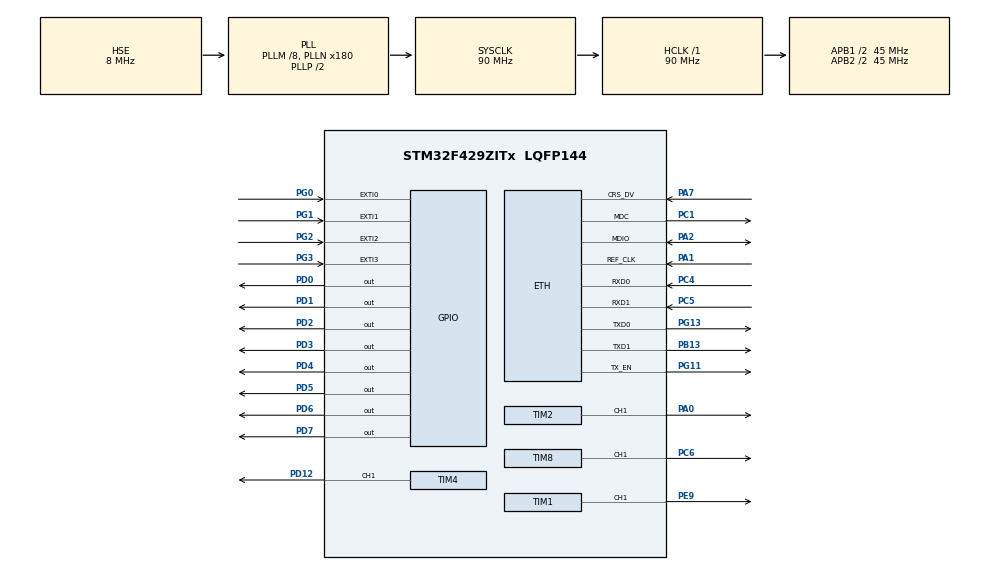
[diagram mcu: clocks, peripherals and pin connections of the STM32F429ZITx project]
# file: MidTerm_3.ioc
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ETH.MediaInterface=HAL_ETH_RMII_MODE
LWIP.BSP.number=1
LWIP.GATEWAY_ADDRESS=172.030.001.255
LWIP.IP_ADDRESS=172.030.001.030
LWIP.LWIP_DHCP=0
LWIP.NETMASK_ADDRESS=255.255.255.000
LWIP.Version=v2.1.2_Cube
LWIP0.BSP.STBoard=false
LWIP0.BSP.api=BSP_COMPONENT_DRIVER
LWIP0.BSP.component=LAN8742
LWIP0.BSP.instance=LAN8742
LWIP0.BSP.name=Driver_PHY
LWIP0.BSP.semaphore=S_LAN8742
LWIP0.BSP.solution=LAN8742
Mcu.Family=STM32F4
Mcu.Name=STM32F429ZITx
Mcu.Package=LQFP144
NVIC.EXTI0_IRQn=true\:0\:0\:false\:false\:true\:true\:true\:true
NVIC.EXTI1_IRQn=true\:0\:0\:false\:false\:true\:true\:true\:true
NVIC.EXTI2_IRQn=true\:0\:0\:false\:false\:true\:true\:true\:true
NVIC.EXTI3_IRQn=true\:0\:0\:false\:false\:true\:true\:true\:true
NVIC.PriorityGroup=NVIC_PRIORITYGROUP_4
NVIC.TIM1_BRK_TIM9_IRQn=true\:0\:0\:false\:false\:true\:true\:true\:true
NVIC.TIM1_CC_IRQn=true\:0\:0\:false\:false\:true\:true\:true\:true
NVIC.TIM1_TRG_COM_TIM11_IRQn=true\:0\:0\:false\:false\:true\:true\:true\:true
NVIC.TIM1_UP_TIM10_IRQn=true\:0\:0\:false\:false\:true\:true\:true\:true
NVIC.TIM2_IRQn=true\:0\:0\:false\:false\:true\:true\:true\:true
NVIC.TIM3_IRQn=true\:0\:0\:false\:false\:true\:true\:true\:true
NVIC.TIM4_IRQn=true\:0\:0\:false\:false\:true\:true\:true\:true
NVIC.TIM8_BRK_TIM12_IRQn=true\:0\:0\:false\:false\:true\:true\:true\:true
NVIC.TIM8_CC_IRQn=true\:0\:0\:false\:false\:true\:true\:true\:true
NVIC.TIM8_TRG_COM_TIM14_IRQn=true\:0\:0\:false\:false\:true\:true\:true\:true
NVIC.TIM8_UP_TIM13_IRQn=true\:0\:0\:false\:false\:true\:true\:true\:true
PA0/WKUP.Signal=S_TIM2_CH1_ETR
PA1.Mode=RMII
PA1.Signal=ETH_REF_CLK
PA13.Mode=Serial_Wire
PA13.Signal=SYS_JTMS-SWDIO
PA14.Mode=Serial_Wire
PA14.Signal=SYS_JTCK-SWCLK
PA2.Mode=RMII
PA2.Signal=ETH_MDIO
PA7.Mode=RMII
PA7.Signal=ETH_CRS_DV
PB13.Mode=RMII
PB13.Signal=ETH_TXD1
PC1.Mode=RMII
PC1.Signal=ETH_MDC
PC4.Mode=RMII
PC4.Signal=ETH_RXD0
PC5.Mode=RMII
PC5.Signal=ETH_RXD1
PC6.Signal=S_TIM8_CH1
PD0.GPIO_ModeDefaultOutputPP=GPIO_MODE_OUTPUT_PP
PD0.GPIO_PuPd=GPIO_PULLUP
PD0.GPIO_Speed=GPIO_SPEED_FREQ_HIGH
PD0.PinState=GPIO_PIN_RESET
PD0.Signal=GPIO_Output
PD1.GPIO_ModeDefaultOutputPP=GPIO_MODE_OUTPUT_PP
PD1.GPIO_PuPd=GPIO_PULLUP
PD1.GPIO_Speed=GPIO_SPEED_FREQ_HIGH
PD1.PinState=GPIO_PIN_RESET
PD1.Signal=GPIO_Output
PD12.Signal=S_TIM4_CH1
PD2.GPIO_ModeDefaultOutputPP=GPIO_MODE_OUTPUT_PP
PD2.GPIO_PuPd=GPIO_PULLUP
PD2.GPIO_Speed=GPIO_SPEED_FREQ_HIGH
PD2.PinState=GPIO_PIN_RESET
PD2.Signal=GPIO_Output
PD3.GPIO_ModeDefaultOutputPP=GPIO_MODE_OUTPUT_PP
PD3.GPIO_PuPd=GPIO_PULLUP
PD3.GPIO_Speed=GPIO_SPEED_FREQ_HIGH
PD3.PinState=GPIO_PIN_RESET
PD3.Signal=GPIO_Output
PD4.GPIO_ModeDefaultOutputPP=GPIO_MODE_OUTPUT_PP
PD4.GPIO_PuPd=GPIO_PULLUP
PD4.GPIO_Speed=GPIO_SPEED_FREQ_HIGH
PD4.PinState=GPIO_PIN_RESET
PD4.Signal=GPIO_Output
PD5.GPIO_ModeDefaultOutputPP=GPIO_MODE_OUTPUT_PP
PD5.GPIO_PuPd=GPIO_PULLUP
PD5.GPIO_Speed=GPIO_SPEED_FREQ_HIGH
PD5.PinState=GPIO_PIN_RESET
PD5.Signal=GPIO_Output
PD6.GPIO_ModeDefaultOutputPP=GPIO_MODE_OUTPUT_PP
PD6.GPIO_PuPd=GPIO_PULLUP
PD6.GPIO_Speed=GPIO_SPEED_FREQ_HIGH
PD6.PinState=GPIO_PIN_RESET
PD6.Signal=GPIO_Output
PD7.GPIO_ModeDefaultOutputPP=GPIO_MODE_OUTPUT_PP
PD7.GPIO_PuPd=GPIO_PULLUP
PD7.GPIO_Speed=GPIO_SPEED_FREQ_HIGH
PD7.PinState=GPIO_PIN_RESET
PD7.Signal=GPIO_Output
PE9.Signal=S_TIM1_CH1
PG0.GPIO_ModeDefaultEXTI=GPIO_MODE_IT_FALLING
PG0.GPIO_PuPd=GPIO_NOPULL
PG0.Signal=GPXTI0
PG1.GPIO_ModeDefaultEXTI=GPIO_MODE_IT_FALLING
PG1.GPIO_PuPd=GPIO_NOPULL
PG1.Signal=GPXTI1
PG11.Mode=RMII
PG11.Signal=ETH_TX_EN
PG13.Mode=RMII
PG13.Signal=ETH_TXD0
PG2.GPIO_ModeDefaultEXTI=GPIO_MODE_IT_FALLING
PG2.GPIO_PuPd=GPIO_NOPULL
PG2.Signal=GPXTI2
PG3.GPIO_ModeDefaultEXTI=GPIO_MODE_IT_FALLING
PG3.GPIO_PuPd=GPIO_NOPULL
PG3.Signal=GPXTI3
PH0/OSC_IN.Mode=HSE-External-Clock-Source
PH0/OSC_IN.Signal=RCC_OSC_IN
PH1/OSC_OUT.Mode=HSE-External-Clock-Source
PH1/OSC_OUT.Signal=RCC_OSC_OUT
ProjectManager.HeapSize=0x200
ProjectManager.StackSize=0x400
ProjectManager.TargetToolchain=STM32CubeIDE
RCC.48MHZClocksFreq_Value=45000000
RCC.AHBFreq_Value=90000000
RCC.APB1CLKDivider=RCC_HCLK_DIV2
RCC.APB1Freq_Value=45000000
RCC.APB1TimFreq_Value=90000000
RCC.APB2CLKDivider=RCC_HCLK_DIV2
RCC.APB2Freq_Value=45000000
RCC.APB2TimFreq_Value=90000000
RCC.CortexFreq_Value=90000000
RCC.HCLKFreq_Value=90000000
RCC.HSE_VALUE=8000000
RCC.HSI_VALUE=16000000
RCC.LSE_VALUE=32768
RCC.PLLM=8
RCC.PLLN=180
RCC.PLLSourceVirtual=RCC_PLLSOURCE_HSE
RCC.SYSCLKFreq_VALUE=90000000
RCC.SYSCLKSource=RCC_SYSCLKSOURCE_PLLCLK
RCC.VCOOutputFreq_Value=180000000
SH.S_TIM1_CH1.0=TIM1_CH1,PWM Generation1 CH1
SH.S_TIM2_CH1_ETR.0=TIM2_CH1,PWM Generation1 CH1
SH.S_TIM4_CH1.0=TIM4_CH1,PWM Generation1 CH1
SH.S_TIM8_CH1.0=TIM8_CH1,PWM Generation1 CH1
TIM1.Channel-PWM\ Generation1\ CH1=TIM_CHANNEL_1
TIM1.Period=9999
TIM2.Channel-PWM\ Generation1\ CH1=TIM_CHANNEL_1
TIM2.Period=9999
TIM3.Period=9999
TIM4.Channel-PWM\ Generation1\ CH1=TIM_CHANNEL_1
TIM4.Period=9999
TIM8.Channel-PWM\ Generation1\ CH1=TIM_CHANNEL_1
TIM8.Period=9999
VP_LWIP_VS_Enabled.Mode=Enabled
VP_TIM1_VS_ClockSourceINT.Mode=Internal
VP_TIM2_VS_ClockSourceINT.Mode=Internal
VP_TIM3_VS_ClockSourceINT.Mode=Internal
VP_TIM4_VS_ClockSourceINT.Mode=Internal
VP_TIM8_VS_ClockSourceINT.Mode=Internal
board=custom

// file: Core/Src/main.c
/* USER CODE BEGIN Header */
/**
  ******************************************************************************
  * @file           : main.c
  * @brief          : Main program body
  ******************************************************************************
  * @attention
  *
  * Copyright (c) 2023 STMicroelectronics.
  * All rights reserved.
  *
  * This software is licensed under terms that can be found in the LICENSE file
  * in the root directory of this software component.
  * If no LICENSE file comes with this software, it is provided AS-IS.
  *
  ******************************************************************************
  */
/* USER CODE END Header */
#include "main.h"
#include "lwip.h"

/* USER CODE BEGIN Includes */

#include "tcp_echoclient.h"

/* USER CODE END Includes */

TIM_HandleTypeDef htim1;
TIM_HandleTypeDef htim2;
TIM_HandleTypeDef htim3;
TIM_HandleTypeDef htim4;
TIM_HandleTypeDef htim8;

/* USER CODE BEGIN PV */

struct netif gnetif;

/* USER CODE END PV */

void SystemClock_Config(void);
static void MX_GPIO_Init(void);
static void MX_TIM1_Init(void);
static void MX_TIM2_Init(void);
static void MX_TIM4_Init(void);
static void MX_TIM3_Init(void);
static void MX_TIM8_Init(void);
/* USER CODE BEGIN PFP */

void LED_OnOff(int, int);
void User_notification(struct netif *netif);

/* USER CODE END PFP */

int main(void)
{

  /* MCU Configuration--------------------------------------------------------*/

  /* Reset of all peripherals, Initializes the Flash interface and the Systick. */
  HAL_Init();

  /* Configure the system clock */
  SystemClock_Config();

  /* Initialize all configured peripherals */
  MX_GPIO_Init();
  MX_LWIP_Init();
  MX_TIM1_Init();
  MX_TIM2_Init();
  MX_TIM4_Init();
  MX_TIM3_Init();
  MX_TIM8_Init();
  /* USER CODE BEGIN 2 */

  LED_OnOff(LED_ALL, 500);
  HAL_TIM_Base_Start_IT(&htim1);
  HAL_TIM_Base_Start_IT(&htim2);
  HAL_TIM_Base_Start_IT(&htim4);
  HAL_TIM_Base_Start_IT(&htim8);
  HAL_TIM_PWM_Start_IT(&htim1, TIM_CHANNEL_1);
  HAL_TIM_PWM_Start_IT(&htim8, TIM_CHANNEL_1);
  HAL_TIM_PWM_Start_IT(&htim2, TIM_CHANNEL_1);
  HAL_TIM_PWM_Start_IT(&htim4, TIM_CHANNEL_1);
  HAL_GPIO_WritePin(GPIO_LED, LED1 | LED2, GPIO_PIN_SET);

  User_notification(&gnetif);
  tcp_echoclient_connect();

  /* USER CODE END 2 */

  /* Infinite loop */
  /* USER CODE BEGIN WHILE */
  while (1)
  {
	  MX_LWIP_Process();

    /* USER CODE END WHILE */

  }
}

void SystemClock_Config(void)
{
  RCC_OscInitTypeDef RCC_OscInitStruct = {0};
  RCC_ClkInitTypeDef RCC_ClkInitStruct = {0};

  /** Configure the main internal regulator output voltage
  */
  __HAL_RCC_PWR_CLK_ENABLE();
  __HAL_PWR_VOLTAGESCALING_CONFIG(PWR_REGULATOR_VOLTAGE_SCALE3);

  /** Initializes the RCC Oscillators according to the specified parameters
  * in the RCC_OscInitTypeDef structure.
  */
  RCC_OscInitStruct.OscillatorType = RCC_OSCILLATORTYPE_HSE;
  RCC_OscInitStruct.HSEState = RCC_HSE_BYPASS;
  RCC_OscInitStruct.PLL.PLLState = RCC_PLL_ON;
  RCC_OscInitStruct.PLL.PLLSource = RCC_PLLSOURCE_HSE;
  RCC_OscInitStruct.PLL.PLLM = 8;
  RCC_OscInitStruct.PLL.PLLN = 180;
  RCC_OscInitStruct.PLL.PLLP = RCC_PLLP_DIV2;
  RCC_OscInitStruct.PLL.PLLQ = 4;
  if (HAL_RCC_OscConfig(&RCC_OscInitStruct) != HAL_OK)
  {
    Error_Handler();
  }

  /** Activate the Over-Drive mode
  */
  if (HAL_PWREx_EnableOverDrive() != HAL_OK)
  {
    Error_Handler();
  }

  /** Initializes the CPU, AHB and APB buses clocks
  */
  RCC_ClkInitStruct.ClockType = RCC_CLOCKTYPE_HCLK|RCC_CLOCKTYPE_SYSCLK
                              |RCC_CLOCKTYPE_PCLK1|RCC_CLOCKTYPE_PCLK2;
  RCC_ClkInitStruct.SYSCLKSource = RCC_SYSCLKSOURCE_PLLCLK;
  RCC_ClkInitStruct.AHBCLKDivider = RCC_SYSCLK_DIV1;
  RCC_ClkInitStruct.APB1CLKDivider = RCC_HCLK_DIV2;
  RCC_ClkInitStruct.APB2CLKDivider = RCC_HCLK_DIV2;

  if (HAL_RCC_ClockConfig(&RCC_ClkInitStruct, FLASH_LATENCY_2) != HAL_OK)
  {
    Error_Handler();
  }
}

static void MX_TIM1_Init(void)
{

  TIM_ClockConfigTypeDef sClockSourceConfig = {0};
  TIM_MasterConfigTypeDef sMasterConfig = {0};
  TIM_OC_InitTypeDef sConfigOC = {0};
  TIM_BreakDeadTimeConfigTypeDef sBreakDeadTimeConfig = {0};

  htim1.Instance = TIM1;
  htim1.Init.Prescaler = 0;
  htim1.Init.CounterMode = TIM_COUNTERMODE_UP;
  htim1.Init.Period = 9999;
  htim1.Init.ClockDivision = TIM_CLOCKDIVISION_DIV1;
  htim1.Init.RepetitionCounter = 0;
  htim1.Init.AutoReloadPreload = TIM_AUTORELOAD_PRELOAD_DISABLE;
  if (HAL_TIM_Base_Init(&htim1) != HAL_OK)
  {
    Error_Handler();
  }
  sClockSourceConfig.ClockSource = TIM_CLOCKSOURCE_INTERNAL;
  if (HAL_TIM_ConfigClockSource(&htim1, &sClockSourceConfig) != HAL_OK)
  {
    Error_Handler();
  }
  if (HAL_TIM_PWM_Init(&htim1) != HAL_OK)
  {
    Error_Handler();
  }
  sMasterConfig.MasterOutputTrigger = TIM_TRGO_RESET;
  sMasterConfig.MasterSlaveMode = TIM_MASTERSLAVEMODE_DISABLE;
  if (HAL_TIMEx_MasterConfigSynchronization(&htim1, &sMasterConfig) != HAL_OK)
  {
    Error_Handler();
  }
  sConfigOC.OCMode = TIM_OCMODE_PWM1;
  sConfigOC.Pulse = 0;
  sConfigOC.OCPolarity = TIM_OCPOLARITY_HIGH;
  sConfigOC.OCNPolarity = TIM_OCNPOLARITY_HIGH;
  sConfigOC.OCFastMode = TIM_OCFAST_DISABLE;
  sConfigOC.OCIdleState = TIM_OCIDLESTATE_RESET;
  sConfigOC.OCNIdleState = TIM_OCNIDLESTATE_RESET;
  if (HAL_TIM_PWM_ConfigChannel(&htim1, &sConfigOC, TIM_CHANNEL_1) != HAL_OK)
  {
    Error_Handler();
  }
  sBreakDeadTimeConfig.OffStateRunMode = TIM_OSSR_DISABLE;
  sBreakDeadTimeConfig.OffStateIDLEMode = TIM_OSSI_DISABLE;
  sBreakDeadTimeConfig.LockLevel = TIM_LOCKLEVEL_OFF;
  sBreakDeadTimeConfig.DeadTime = 0;
  sBreakDeadTimeConfig.BreakState = TIM_BREAK_DISABLE;
  sBreakDeadTimeConfig.BreakPolarity = TIM_BREAKPOLARITY_HIGH;
  sBreakDeadTimeConfig.AutomaticOutput = TIM_AUTOMATICOUTPUT_DISABLE;
  if (HAL_TIMEx_ConfigBreakDeadTime(&htim1, &sBreakDeadTimeConfig) != HAL_OK)
  {
    Error_Handler();
  }
  HAL_TIM_MspPostInit(&htim1);

}

static void MX_TIM2_Init(void)
{

  TIM_ClockConfigTypeDef sClockSourceConfig = {0};
  TIM_MasterConfigTypeDef sMasterConfig = {0};
  TIM_OC_InitTypeDef sConfigOC = {0};

  htim2.Instance = TIM2;
  htim2.Init.Prescaler = 0;
  htim2.Init.CounterMode = TIM_COUNTERMODE_UP;
  htim2.Init.Period = 9999;
  htim2.Init.ClockDivision = TIM_CLOCKDIVISION_DIV1;
  htim2.Init.AutoReloadPreload = TIM_AUTORELOAD_PRELOAD_DISABLE;
  if (HAL_TIM_Base_Init(&htim2) != HAL_OK)
  {
    Error_Handler();
  }
  sClockSourceConfig.ClockSource = TIM_CLOCKSOURCE_INTERNAL;
  if (HAL_TIM_ConfigClockSource(&htim2, &sClockSourceConfig) != HAL_OK)
  {
    Error_Handler();
  }
  if (HAL_TIM_PWM_Init(&htim2) != HAL_OK)
  {
    Error_Handler();
  }
  sMasterConfig.MasterOutputTrigger = TIM_TRGO_RESET;
  sMasterConfig.MasterSlaveMode = TIM_MASTERSLAVEMODE_DISABLE;
  if (HAL_TIMEx_MasterConfigSynchronization(&htim2, &sMasterConfig) != HAL_OK)
  {
    Error_Handler();
  }
  sConfigOC.OCMode = TIM_OCMODE_PWM1;
  sConfigOC.Pulse = 0;
  sConfigOC.OCPolarity = TIM_OCPOLARITY_HIGH;
  sConfigOC.OCFastMode = TIM_OCFAST_DISABLE;
  if (HAL_TIM_PWM_ConfigChannel(&htim2, &sConfigOC, TIM_CHANNEL_1) != HAL_OK)
  {
    Error_Handler();
  }
  HAL_TIM_MspPostInit(&htim2);

}

static void MX_TIM3_Init(void)
{

  TIM_ClockConfigTypeDef sClockSourceConfig = {0};
  TIM_MasterConfigTypeDef sMasterConfig = {0};

  htim3.Instance = TIM3;
  htim3.Init.Prescaler = 0;
  htim3.Init.CounterMode = TIM_COUNTERMODE_UP;
  htim3.Init.Period = 9999;
  htim3.Init.ClockDivision = TIM_CLOCKDIVISION_DIV1;
  htim3.Init.AutoReloadPreload = TIM_AUTORELOAD_PRELOAD_DISABLE;
  if (HAL_TIM_Base_Init(&htim3) != HAL_OK)
  {
    Error_Handler();
  }
  sClockSourceConfig.ClockSource = TIM_CLOCKSOURCE_INTERNAL;
  if (HAL_TIM_ConfigClockSource(&htim3, &sClockSourceConfig) != HAL_OK)
  {
    Error_Handler();
  }
  sMasterConfig.MasterOutputTrigger = TIM_TRGO_RESET;
  sMasterConfig.MasterSlaveMode = TIM_MASTERSLAVEMODE_DISABLE;
  if (HAL_TIMEx_MasterConfigSynchronization(&htim3, &sMasterConfig) != HAL_OK)
  {
    Error_Handler();
  }

}

static void MX_TIM4_Init(void)
{

  TIM_ClockConfigTypeDef sClockSourceConfig = {0};
  TIM_MasterConfigTypeDef sMasterConfig = {0};
  TIM_OC_InitTypeDef sConfigOC = {0};

  htim4.Instance = TIM4;
  htim4.Init.Prescaler = 0;
  htim4.Init.CounterMode = TIM_COUNTERMODE_UP;
  htim4.Init.Period = 9999;
  htim4.Init.ClockDivision = TIM_CLOCKDIVISION_DIV1;
  htim4.Init.AutoReloadPreload = TIM_AUTORELOAD_PRELOAD_DISABLE;
  if (HAL_TIM_Base_Init(&htim4) != HAL_OK)
  {
    Error_Handler();
  }
  sClockSourceConfig.ClockSource = TIM_CLOCKSOURCE_INTERNAL;
  if (HAL_TIM_ConfigClockSource(&htim4, &sClockSourceConfig) != HAL_OK)
  {
    Error_Handler();
  }
  if (HAL_TIM_PWM_Init(&htim4) != HAL_OK)
  {
    Error_Handler();
  }
  sMasterConfig.MasterOutputTrigger = TIM_TRGO_RESET;
  sMasterConfig.MasterSlaveMode = TIM_MASTERSLAVEMODE_DISABLE;
  if (HAL_TIMEx_MasterConfigSynchronization(&htim4, &sMasterConfig) != HAL_OK)
  {
    Error_Handler();
  }
  sConfigOC.OCMode = TIM_OCMODE_PWM1;
  sConfigOC.Pulse = 0;
  sConfigOC.OCPolarity = TIM_OCPOLARITY_HIGH;
  sConfigOC.OCFastMode = TIM_OCFAST_DISABLE;
  if (HAL_TIM_PWM_ConfigChannel(&htim4, &sConfigOC, TIM_CHANNEL_1) != HAL_OK)
  {
    Error_Handler();
  }
  HAL_TIM_MspPostInit(&htim4);

}

static void MX_TIM8_Init(void)
{

  TIM_ClockConfigTypeDef sClockSourceConfig = {0};
  TIM_MasterConfigTypeDef sMasterConfig = {0};
  TIM_OC_InitTypeDef sConfigOC = {0};
  TIM_BreakDeadTimeConfigTypeDef sBreakDeadTimeConfig = {0};

  htim8.Instance = TIM8;
  htim8.Init.Prescaler = 0;
  htim8.Init.CounterMode = TIM_COUNTERMODE_UP;
  htim8.Init.Period = 9999;
  htim8.Init.ClockDivision = TIM_CLOCKDIVISION_DIV1;
  htim8.Init.RepetitionCounter = 0;
  htim8.Init.AutoReloadPreload = TIM_AUTORELOAD_PRELOAD_DISABLE;
  if (HAL_TIM_Base_Init(&htim8) != HAL_OK)
  {
    Error_Handler();
  }
  sClockSourceConfig.ClockSource = TIM_CLOCKSOURCE_INTERNAL;
  if (HAL_TIM_ConfigClockSource(&htim8, &sClockSourceConfig) != HAL_OK)
  {
    Error_Handler();
  }
  if (HAL_TIM_PWM_Init(&htim8) != HAL_OK)
  {
    Error_Handler();
  }
  sMasterConfig.MasterOutputTrigger = TIM_TRGO_RESET;
  sMasterConfig.MasterSlaveMode = TIM_MASTERSLAVEMODE_DISABLE;
  if (HAL_TIMEx_MasterConfigSynchronization(&htim8, &sMasterConfig) != HAL_OK)
  {
    Error_Handler();
  }
  sConfigOC.OCMode = TIM_OCMODE_PWM1;
  sConfigOC.Pulse = 0;
  sConfigOC.OCPolarity = TIM_OCPOLARITY_HIGH;
  sConfigOC.OCNPolarity = TIM_OCNPOLARITY_HIGH;
  sConfigOC.OCFastMode = TIM_OCFAST_DISABLE;
  sConfigOC.OCIdleState = TIM_OCIDLESTATE_RESET;
  sConfigOC.OCNIdleState = TIM_OCNIDLESTATE_RESET;
  if (HAL_TIM_PWM_ConfigChannel(&htim8, &sConfigOC, TIM_CHANNEL_1) != HAL_OK)
  {
    Error_Handler();
  }
  sBreakDeadTimeConfig.OffStateRunMode = TIM_OSSR_DISABLE;
  sBreakDeadTimeConfig.OffStateIDLEMode = TIM_OSSI_DISABLE;
  sBreakDeadTimeConfig.LockLevel = TIM_LOCKLEVEL_OFF;
  sBreakDeadTimeConfig.DeadTime = 0;
  sBreakDeadTimeConfig.BreakState = TIM_BREAK_DISABLE;
  sBreakDeadTimeConfig.BreakPolarity = TIM_BREAKPOLARITY_HIGH;
  sBreakDeadTimeConfig.AutomaticOutput = TIM_AUTOMATICOUTPUT_DISABLE;
  if (HAL_TIMEx_ConfigBreakDeadTime(&htim8, &sBreakDeadTimeConfig) != HAL_OK)
  {
    Error_Handler();
  }
  HAL_TIM_MspPostInit(&htim8);

}

static void MX_GPIO_Init(void)
{
  GPIO_InitTypeDef GPIO_InitStruct = {0};

  /* GPIO Ports Clock Enable */
  __HAL_RCC_GPIOH_CLK_ENABLE();
  __HAL_RCC_GPIOC_CLK_ENABLE();
  __HAL_RCC_GPIOA_CLK_ENABLE();
  __HAL_RCC_GPIOG_CLK_ENABLE();
  __HAL_RCC_GPIOE_CLK_ENABLE();
  __HAL_RCC_GPIOB_CLK_ENABLE();
  __HAL_RCC_GPIOD_CLK_ENABLE();

  /*Configure GPIO pin Output Level */
  HAL_GPIO_WritePin(GPIOD, GPIO_PIN_0|GPIO_PIN_1|GPIO_PIN_2|GPIO_PIN_3
                          |GPIO_PIN_4|GPIO_PIN_5|GPIO_PIN_6|GPIO_PIN_7, GPIO_PIN_RESET);

  /*Configure GPIO pins : PG0 PG1 PG2 PG3 */
  GPIO_InitStruct.Pin = GPIO_PIN_0|GPIO_PIN_1|GPIO_PIN_2|GPIO_PIN_3;
  GPIO_InitStruct.Mode = GPIO_MODE_IT_FALLING;
  GPIO_InitStruct.Pull = GPIO_NOPULL;
  HAL_GPIO_Init(GPIOG, &GPIO_InitStruct);

  /*Configure GPIO pins : PD0 PD1 PD2 PD3
                           PD4 PD5 PD6 PD7 */
  GPIO_InitStruct.Pin = GPIO_PIN_0|GPIO_PIN_1|GPIO_PIN_2|GPIO_PIN_3
                          |GPIO_PIN_4|GPIO_PIN_5|GPIO_PIN_6|GPIO_PIN_7;
  GPIO_InitStruct.Mode = GPIO_MODE_OUTPUT_PP;
  GPIO_InitStruct.Pull = GPIO_PULLUP;
  GPIO_InitStruct.Speed = GPIO_SPEED_FREQ_HIGH;
  HAL_GPIO_Init(GPIOD, &GPIO_InitStruct);

  /* EXTI interrupt init*/
  HAL_NVIC_SetPriority(EXTI0_IRQn, 0, 0);
  HAL_NVIC_EnableIRQ(EXTI0_IRQn);

  HAL_NVIC_SetPriority(EXTI1_IRQn, 0, 0);
  HAL_NVIC_EnableIRQ(EXTI1_IRQn);

  HAL_NVIC_SetPriority(EXTI2_IRQn, 0, 0);
  HAL_NVIC_EnableIRQ(EXTI2_IRQn);

  HAL_NVIC_SetPriority(EXTI3_IRQn, 0, 0);
  HAL_NVIC_EnableIRQ(EXTI3_IRQn);

}

/* USER CODE BEGIN 4 */

void LED_OnOff(int led, int interval)
{
	HAL_GPIO_WritePin(GPIO_LED, led, GPIO_PIN_SET );
	HAL_Delay(interval);
	HAL_GPIO_WritePin(GPIO_LED, led, GPIO_PIN_RESET );
}

void User_notification(struct netif *netif)
{
	if (netif_is_up(netif)) {
		HAL_GPIO_WritePin(GPIO_LED, LED7, GPIO_PIN_SET);
	}
	else {
		HAL_GPIO_WritePin(GPIO_LED, LED8, GPIO_PIN_SET);
	}
}

void HAL_TIM_PeriodElapsedCallback(TIM_HandleTypeDef *htim)
{
	int led_lt = 0, led_rt = 0, led_ld = 0, led_rd = 0;

	led_lt = floor(((10000 * lt) / 100) - 1);
	led_rt = floor(((10000 * rt) / 100) - 1);
	led_ld = floor(((10000 * ld) / 100) - 1);
	led_rd = floor(((10000 * rd) / 100) - 1);

    if (htim->Instance == TIM1)
    {

		__HAL_TIM_SET_COMPARE(&htim1, TIM_CHANNEL_1, led_lt);
    }
    if (htim->Instance == TIM8)
	{

		__HAL_TIM_SET_COMPARE(&htim8, TIM_CHANNEL_1, led_rt);
	}
    if (htim->Instance == TIM2)
	{

		__HAL_TIM_SET_COMPARE(&htim2, TIM_CHANNEL_1, led_ld);
	}
	if (htim->Instance == TIM4)
	{

		__HAL_TIM_SET_COMPARE(&htim4, TIM_CHANNEL_1, led_rd);
	}

}

void HAL_GPIO_EXTI_Callback(uint16_t GPIO_PIN)
{
	if (GPIO_PIN  == SW1)
	{
		HAL_GPIO_WritePin(GPIO_LED, LED1 | LED2, GPIO_PIN_SET);
		  HAL_TIM_PWM_Start_IT(&htim1, TIM_CHANNEL_1);
		  HAL_TIM_PWM_Start_IT(&htim8, TIM_CHANNEL_1);
		  HAL_TIM_PWM_Start_IT(&htim2, TIM_CHANNEL_1);
		  HAL_TIM_PWM_Start_IT(&htim4, TIM_CHANNEL_1);
	}
	else if (GPIO_PIN  == SW2)
	{
		HAL_GPIO_WritePin(GPIO_LED, LED1 | LED2, GPIO_PIN_RESET);
		  HAL_TIM_PWM_Stop_IT(&htim1, TIM_CHANNEL_1);
		  HAL_TIM_PWM_Stop_IT(&htim8, TIM_CHANNEL_1);
		  HAL_TIM_PWM_Stop_IT(&htim2, TIM_CHANNEL_1);
		  HAL_TIM_PWM_Stop_IT(&htim4, TIM_CHANNEL_1);
	}
}

/* USER CODE END 4 */

void Error_Handler(void)
{
  __disable_irq();
  while (1)
  {
  }
}
